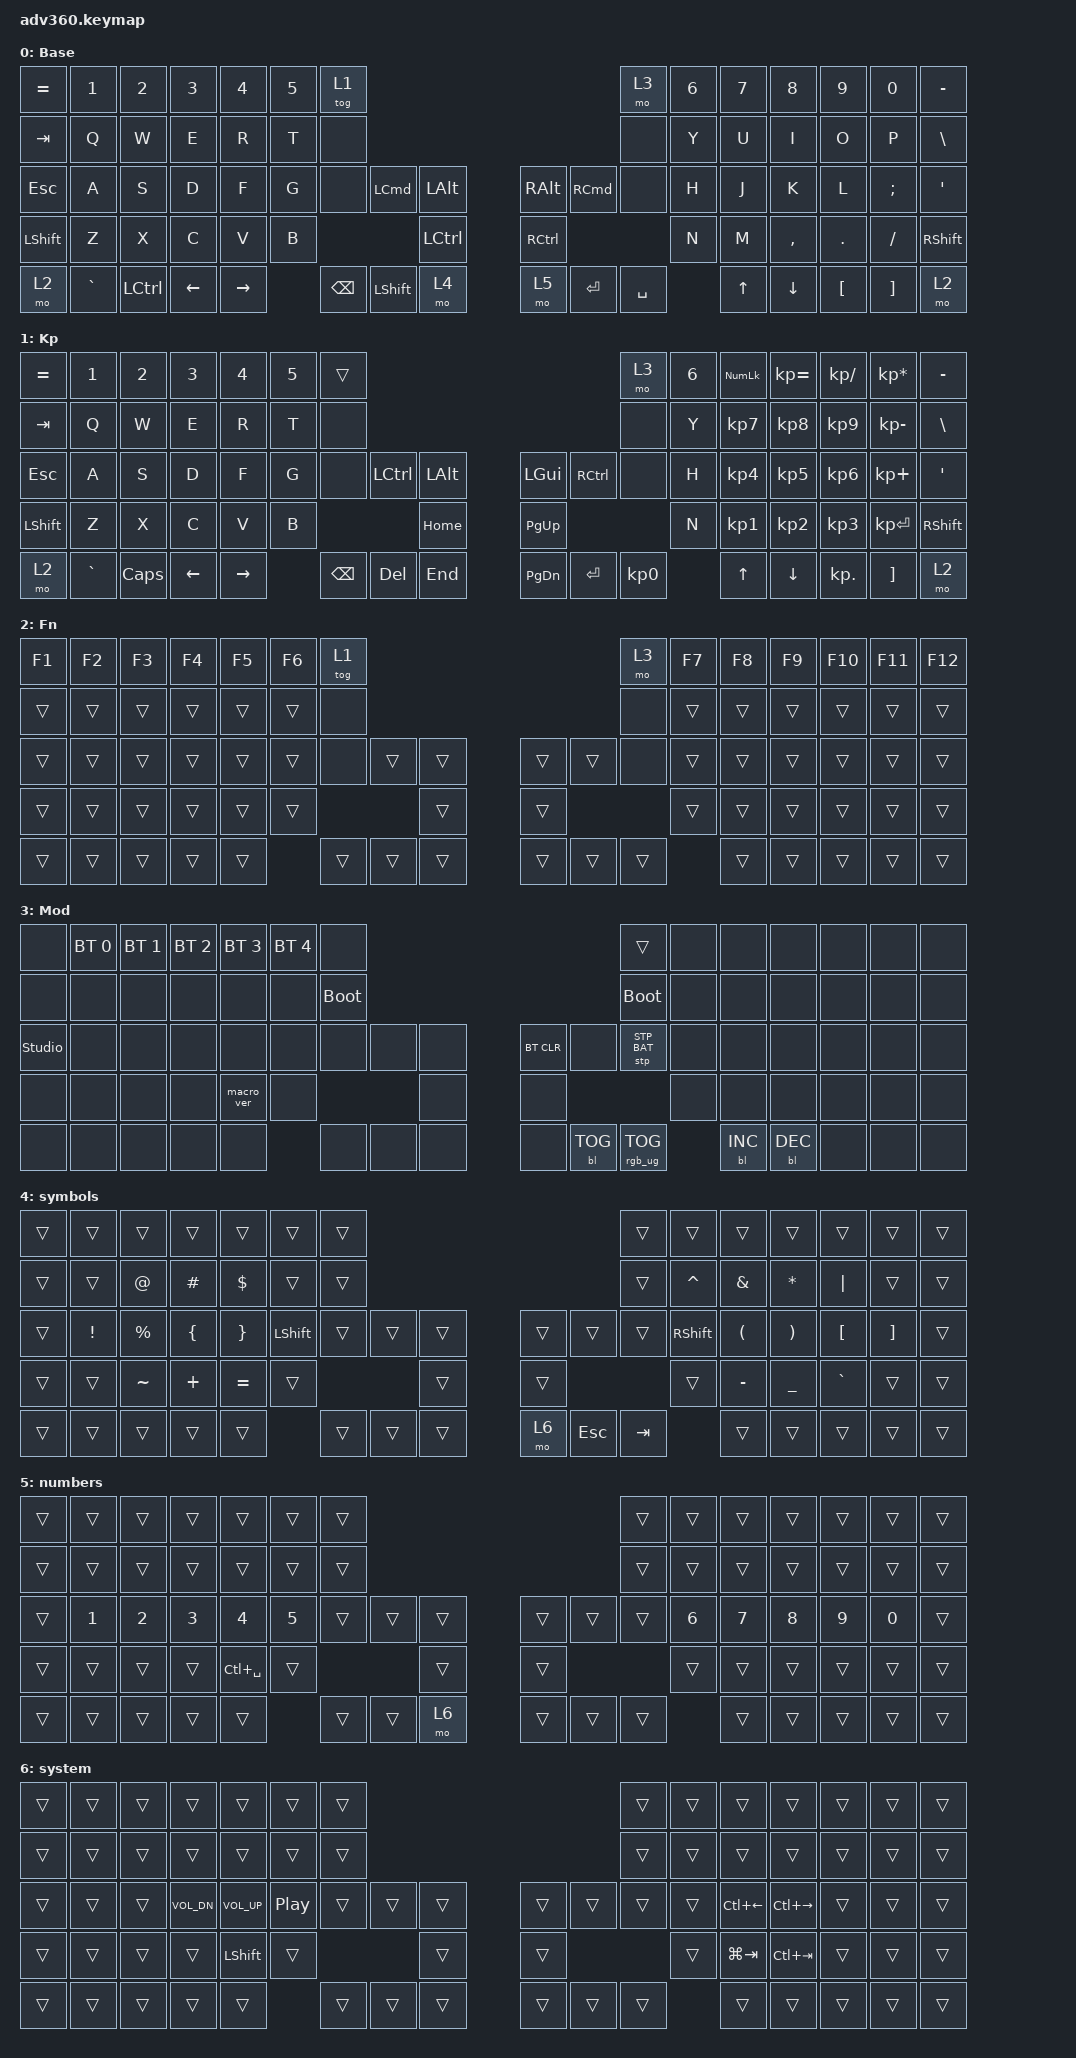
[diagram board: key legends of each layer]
#include <dt-bindings/zmk/stp.h>
#include <behaviors.dtsi>
#include <dt-bindings/zmk/backlight.h>
#include <dt-bindings/zmk/bt.h>
#include <dt-bindings/zmk/keys.h>
#include <dt-bindings/zmk/rgb.h>

/ {
    behaviors {
        #include "macros.dtsi"
      #include "version.dtsi"

        hm: homerow_mods {
            compatible = "zmk,behavior-hold-tap";
            label = "HOMEROW_MODS";
            #binding-cells = <2>;
            tapping-term-ms = <200>;
            quick_tap_ms = <175>;
            flavor = "tap-preferred";
            bindings = <&kp>, <&kp>;
        };
    };

    keymap {
        compatible = "zmk,keymap";

        default_layer {
            display-name = "Base";
            bindings = <
&kp EQUAL  &kp N1     &kp N2            &kp N3    &kp N4     &kp N5  &tog 1                                                                                  &mo 3      &kp N6  &kp N7  &kp N8     &kp N9    &kp N0    &kp MINUS
&kp TAB    &kp Q      &kp W             &kp E     &kp R      &kp T   &none                                                                                   &none      &kp Y   &kp U   &kp I      &kp O     &kp P     &kp BSLH
&kp ESC    &kp A      &kp S             &kp D     &kp F      &kp G   &none     &kp LEFT_COMMAND  &kp LALT              &kp RIGHT_ALT      &kp RIGHT_COMMAND  &none      &kp H   &kp J   &kp K      &kp L     &kp SEMI  &kp SQT
&kp LSHFT  &kp Z      &kp X             &kp C     &kp V      &kp B                               &kp LEFT_CONTROL      &kp RIGHT_CONTROL                                &kp N   &kp M   &kp COMMA  &kp DOT   &kp FSLH  &kp RSHFT
&mo 2      &kp GRAVE  &kp LEFT_CONTROL  &kp LEFT  &kp RIGHT          &kp BSPC  &kp LEFT_SHIFT    &mo 4                 &mo 5              &kp ENTER          &kp SPACE          &kp UP  &kp DOWN   &kp LBKT  &kp RBKT  &mo 2
            >;
        };

        keypad {
            display-name = "Kp";
            bindings = <
&kp EQUAL  &kp N1     &kp N2    &kp N3    &kp N4     &kp N5  &trans                                                   &mo 3      &kp N6  &kp KP_NUM  &kp KP_EQUAL  &kp KP_DIVIDE  &kp KP_MULTIPLY  &kp MINUS
&kp TAB    &kp Q      &kp W     &kp E     &kp R      &kp T   &none                                                    &none      &kp Y   &kp KP_N7   &kp KP_N8     &kp KP_N9      &kp KP_MINUS     &kp BSLH
&kp ESC    &kp A      &kp S     &kp D     &kp F      &kp G   &none     &kp LCTRL  &kp LALT      &kp LGUI   &kp RCTRL  &none      &kp H   &kp KP_N4   &kp KP_N5     &kp KP_N6      &kp KP_PLUS      &kp SQT
&kp LSHFT  &kp Z      &kp X     &kp C     &kp V      &kp B                        &kp HOME      &kp PG_UP                        &kp N   &kp KP_N1   &kp KP_N2     &kp KP_N3      &kp KP_ENTER     &kp RSHFT
&mo 2      &kp GRAVE  &kp CAPS  &kp LEFT  &kp RIGHT          &kp BSPC  &kp DEL    &kp END       &kp PG_DN  &kp ENTER  &kp KP_N0          &kp UP      &kp DOWN      &kp KP_DOT     &kp RBKT         &mo 2
            >;
        };

        fn {
            display-name = "Fn";
            bindings = <
&kp F1  &kp F2  &kp F3  &kp F4  &kp F5  &kp F6  &tog 1                                      &mo 3   &kp F7  &kp F8  &kp F9  &kp F10  &kp F11  &kp F12
&trans  &trans  &trans  &trans  &trans  &trans  &none                                       &none   &trans  &trans  &trans  &trans   &trans   &trans
&trans  &trans  &trans  &trans  &trans  &trans  &none   &trans  &trans      &trans  &trans  &none   &trans  &trans  &trans  &trans   &trans   &trans
&trans  &trans  &trans  &trans  &trans  &trans                  &trans      &trans                  &trans  &trans  &trans  &trans   &trans   &trans
&trans  &trans  &trans  &trans  &trans          &trans  &trans  &trans      &trans  &trans  &trans          &trans  &trans  &trans   &trans   &trans
            >;
        };

        mod {
            display-name = "Mod";
            bindings = <
&none           &bt BT_SEL 0  &bt BT_SEL 1  &bt BT_SEL 2  &bt BT_SEL 3  &bt BT_SEL 4  &none                                                  &trans           &none  &none       &none       &none  &none  &none
&none           &none         &none         &none         &none         &none         &bootloader                                            &bootloader      &none  &none       &none       &none  &none  &none
&studio_unlock  &none         &none         &none         &none         &none         &none        &none  &none      &bt BT_CLR  &none       &stp STP_BAT     &none  &none       &none       &none  &none  &none
&none           &none         &none         &none         &macro_ver    &none                             &none      &none                                    &none  &none       &none       &none  &none  &none
&none           &none         &none         &none         &none                       &none        &none  &none      &none       &bl BL_TOG  &rgb_ug RGB_TOG         &bl BL_INC  &bl BL_DEC  &none  &none  &none
            >;
        };

        symbols {
            bindings = <
&trans  &trans           &trans       &trans          &trans           &trans          &trans                                          &trans   &trans           &trans                &trans                 &trans            &trans             &trans
&trans  &trans           &kp AT_SIGN  &kp POUND       &kp DOLLAR       &trans          &trans                                          &trans   &kp CARET        &kp AMPERSAND         &kp ASTERISK           &kp PIPE          &trans             &trans
&trans  &kp EXCLAMATION  &kp PERCENT  &kp LEFT_BRACE  &kp RIGHT_BRACE  &kp LEFT_SHIFT  &trans  &trans  &trans      &trans  &trans      &trans   &kp RIGHT_SHIFT  &kp LEFT_PARENTHESIS  &kp RIGHT_PARENTHESIS  &kp LEFT_BRACKET  &kp RIGHT_BRACKET  &trans
&trans  &trans           &kp TILDE    &kp PLUS        &kp EQUAL        &trans                          &trans      &trans                       &trans           &kp MINUS             &kp UNDERSCORE         &kp GRAVE         &trans             &trans
&trans  &trans           &trans       &trans          &trans                           &trans  &trans  &trans      &mo 6   &kp ESCAPE  &kp TAB                   &trans                &trans                 &trans            &trans             &trans
            >;
        };

        numbers {
            bindings = <
&trans  &trans        &trans        &trans  &trans         &trans  &trans                                      &trans  &trans  &trans  &trans  &trans  &trans  &trans
&trans  &trans        &trans        &trans  &trans         &trans  &trans                                      &trans  &trans  &trans  &trans  &trans  &trans  &trans
&trans  &kp NUMBER_1  &kp NUMBER_2  &kp N3  &kp N4         &kp N5  &trans  &trans  &trans      &trans  &trans  &trans  &kp N6  &kp N7  &kp N8  &kp N9  &kp N0  &trans
&trans  &trans        &trans        &trans  &kp LC(SPACE)  &trans                  &trans      &trans                  &trans  &trans  &trans  &trans  &trans  &trans
&trans  &trans        &trans        &trans  &trans                 &trans  &trans  &mo 6       &trans  &trans  &trans          &trans  &trans  &trans  &trans  &trans
            >;
        };

        system {
            bindings = <
&trans  &trans  &trans  &trans        &trans           &trans            &trans                                      &trans  &trans  &trans        &trans         &trans  &trans  &trans
&trans  &trans  &trans  &trans        &trans           &trans            &trans                                      &trans  &trans  &trans        &trans         &trans  &trans  &trans
&trans  &trans  &trans  &kp C_VOL_DN  &kp C_VOLUME_UP  &kp C_PLAY_PAUSE  &trans  &trans  &trans      &trans  &trans  &trans  &trans  &kp LC(LEFT)  &kp LC(RIGHT)  &trans  &trans  &trans
&trans  &trans  &trans  &trans        &kp LEFT_SHIFT   &trans                            &trans      &trans                  &trans  &kp LG(TAB)   &kp LC(TAB)    &trans  &trans  &trans
&trans  &trans  &trans  &trans        &trans                             &trans  &trans  &trans      &trans  &trans  &trans          &trans        &trans         &trans  &trans  &trans
            >;
        };
    };
};
